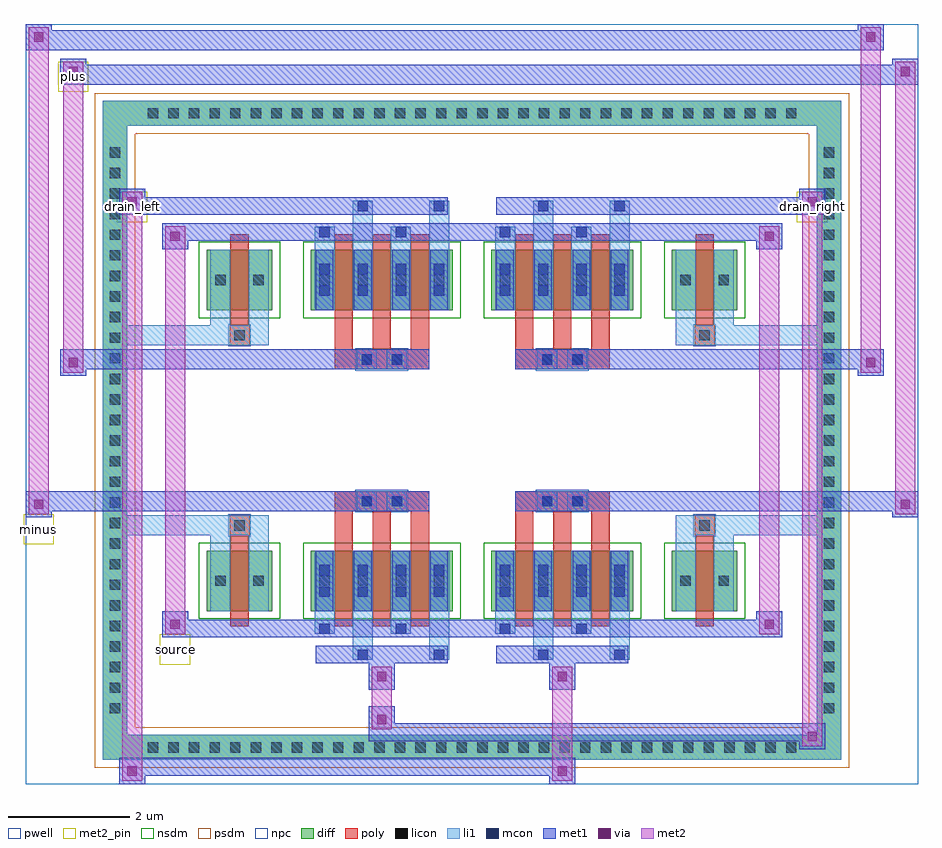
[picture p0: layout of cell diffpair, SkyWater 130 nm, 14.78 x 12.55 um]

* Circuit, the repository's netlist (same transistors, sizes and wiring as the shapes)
* NGSPICE file created from diffpair.ext - technology: sky130A

.subckt diffpair minus drain_right drain_left source plus
X0 drain_left plus source a_n1220_n1088# sky130_fd_pr__nfet_01v8 ad=0.39 pd=2.78 as=0.165 ps=1.33 w=1 l=0.3
X1 drain_right minus source a_n1220_n1088# sky130_fd_pr__nfet_01v8 ad=0.39 pd=2.78 as=0.165 ps=1.33 w=1 l=0.3
X2 a_n1220_n1088# a_n1220_n1088# a_n1220_n1088# a_n1220_n1088# sky130_fd_pr__nfet_01v8 ad=0.39 pd=2.78 as=3.12 ps=22.24 w=1 l=0.3
X3 drain_right minus source a_n1220_n1088# sky130_fd_pr__nfet_01v8 ad=0.165 pd=1.33 as=0.39 ps=2.78 w=1 l=0.3
X4 source plus drain_left a_n1220_n1088# sky130_fd_pr__nfet_01v8 ad=0.165 pd=1.33 as=0.165 ps=1.33 w=1 l=0.3
X5 a_n1220_n1088# a_n1220_n1088# a_n1220_n1088# a_n1220_n1088# sky130_fd_pr__nfet_01v8 ad=0.39 pd=2.78 as=0 ps=0 w=1 l=0.3
X6 drain_left plus source a_n1220_n1088# sky130_fd_pr__nfet_01v8 ad=0.39 pd=2.78 as=0.165 ps=1.33 w=1 l=0.3
X7 source minus drain_right a_n1220_n1088# sky130_fd_pr__nfet_01v8 ad=0.165 pd=1.33 as=0.165 ps=1.33 w=1 l=0.3
X8 a_n1220_n1088# a_n1220_n1088# a_n1220_n1088# a_n1220_n1088# sky130_fd_pr__nfet_01v8 ad=0.39 pd=2.78 as=0 ps=0 w=1 l=0.3
X9 source plus drain_left a_n1220_n1088# sky130_fd_pr__nfet_01v8 ad=0.165 pd=1.33 as=0.165 ps=1.33 w=1 l=0.3
X10 drain_left plus source a_n1220_n1088# sky130_fd_pr__nfet_01v8 ad=0.165 pd=1.33 as=0.39 ps=2.78 w=1 l=0.3
X11 drain_right minus source a_n1220_n1088# sky130_fd_pr__nfet_01v8 ad=0.165 pd=1.33 as=0.39 ps=2.78 w=1 l=0.3
X12 drain_right minus source a_n1220_n1088# sky130_fd_pr__nfet_01v8 ad=0.39 pd=2.78 as=0.165 ps=1.33 w=1 l=0.3
X13 drain_left plus source a_n1220_n1088# sky130_fd_pr__nfet_01v8 ad=0.165 pd=1.33 as=0.39 ps=2.78 w=1 l=0.3
X14 a_n1220_n1088# a_n1220_n1088# a_n1220_n1088# a_n1220_n1088# sky130_fd_pr__nfet_01v8 ad=0.39 pd=2.78 as=0 ps=0 w=1 l=0.3
X15 source minus drain_right a_n1220_n1088# sky130_fd_pr__nfet_01v8 ad=0.165 pd=1.33 as=0.165 ps=1.33 w=1 l=0.3
.ends

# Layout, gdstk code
import gdstk
lib = gdstk.Library(unit=1e-6, precision=5e-09)
def R(c, l, rs):  # rectangles x0, y0, x1, y1
    for r in rs: c.add(gdstk.rectangle(r[:2], r[2:], *l))
def A(c, l, x, y, w, h, nx, ny, dx, dy):  # array of equal rectangles
    R(c, l, [(x+i*dx, y+j*dy, x+i*dx+w, y+j*dy+h) for i in range(nx) for j in range(ny)])
def P(c, l, *ps):  # polygons
    for p in ps: c.add(gdstk.Polygon(p, *l))
pwell = (64, 44)
diff = (65, 20)
poly = (66, 20)
licon = (66, 44)
li1 = (67, 20)
mcon = (67, 44)
met1 = (68, 20)
via = (68, 44)
met2_pin = (69, 16)
met2 = (69, 20)
nsdm = (93, 44)
psdm = (94, 20)
npc = (95, 20)

diffpair = lib.new_cell('diffpair')
R(diffpair, pwell, [(-7.37,-5.84,7.37,6.71), (-4.69,-4.03,-0.01,-0.805), (0.01,-4.03,4.69,-0.805), (-4.69,0.805,-0.01,4.03), (0.01,0.805,4.69,4.03)])
A(diffpair, diff, -5.475, -5.44, 0.41, 0.41, 32, 2, 0.34, 10.47)
A(diffpair, diff, -6.1, -4.795, 0.41, 0.41, 1, 28, 0, 0.34)
A(diffpair, diff, 5.69, -4.795, 0.41, 0.41, 1, 28, 0, 0.34)
R(diffpair, diff, [(-5.475,-5.44,5.475,-5.03), (-6.1,-4.795,-5.69,4.795), (5.69,-4.795,6.1,4.795), (-4.38,-2.985,-3.3,-1.985), (-2.66,-2.985,-0.32,-1.985), (0.32,-2.985,2.66,-1.985), (3.3,-2.985,4.38,-1.985), (-4.38,1.985,-3.3,2.985), (-2.66,1.985,-0.32,2.985), (0.32,1.985,2.66,2.985), (3.3,1.985,4.38,2.985), (-5.475,5.03,5.475,5.44)])
P(diffpair, diff, [(6.1,5.44),(-6.1,5.44),(-6.1,-5.03),(-5.69,-5.03),(-5.69,5.03),(5.69,5.03),(5.69,-5.03),(-5.69,-5.03),(-6.1,-5.03),(-6.1,-5.44),(6.1,-5.44)])
A(diffpair, poly, -2.27, -3.235, 0.3, 1.5, 3, 2, 0.63, 4.97)
A(diffpair, poly, 0.71, -3.235, 0.3, 1.5, 3, 2, 0.63, 4.97)
A(diffpair, poly, -2.27, -1.735, 0.3, 0.4, 3, 2, 0.63, 3.07)
A(diffpair, poly, 0.71, -1.735, 0.3, 0.4, 3, 2, 0.63, 3.07)
R(diffpair, poly, [(-3.99,-3.235,-3.69,-1.735), (3.69,-3.235,3.99,-1.735), (-4.005,-1.735,-3.675,-1.405), (-4.005,-1.735,-3.675,-1.405), (3.675,-1.735,4.005,-1.405), (3.675,-1.735,4.005,-1.405), (-2.27,-1.335,-0.71,-1.005), (-1.905,-1.335,-1.575,-1.005), (-1.405,-1.335,-1.075,-1.005), (0.71,-1.335,2.27,-1.005), (1.075,-1.335,1.405,-1.005), (1.575,-1.335,1.905,-1.005), (-2.27,1.005,-0.71,1.335), (-1.905,1.005,-1.575,1.335), (-1.405,1.005,-1.075,1.335), (0.71,1.005,2.27,1.335), (1.075,1.005,1.405,1.335), (1.575,1.005,1.905,1.335), (-4.005,1.405,-3.675,1.735), (-4.005,1.405,-3.675,1.735), (3.675,1.405,4.005,1.735), (3.675,1.405,4.005,1.735), (-3.99,1.735,-3.69,3.235), (3.69,1.735,3.99,3.235)])
A(diffpair, licon, -5.355, -5.32, 0.17, 0.17, 32, 2, 0.34, 10.47)
A(diffpair, licon, -5.98, -4.675, 0.17, 0.17, 1, 28, 0, 0.34)
A(diffpair, licon, 5.81, -4.675, 0.17, 0.17, 1, 28, 0, 0.34)
A(diffpair, licon, -2.52, -2.57, 0.17, 0.17, 4, 2, 0.63, 4.97)
A(diffpair, licon, 0.46, -2.57, 0.17, 0.17, 4, 2, 0.63, 4.97)
R(diffpair, licon, [(-4.24,-2.57,-4.07,-2.4), (-3.61,-2.57,-3.44,-2.4), (3.44,-2.57,3.61,-2.4), (4.07,-2.57,4.24,-2.4), (-3.925,-1.655,-3.755,-1.485), (3.755,-1.655,3.925,-1.485), (-1.825,-1.255,-1.655,-1.085), (-1.325,-1.255,-1.155,-1.085), (1.155,-1.255,1.325,-1.085), (1.655,-1.255,1.825,-1.085), (-1.825,1.085,-1.655,1.255), (-1.325,1.085,-1.155,1.255), (1.155,1.085,1.325,1.255), (1.655,1.085,1.825,1.255), (-3.925,1.485,-3.755,1.655), (3.755,1.485,3.925,1.655), (-4.24,2.4,-4.07,2.57), (-3.61,2.4,-3.44,2.57), (3.44,2.4,3.61,2.57), (4.07,2.4,4.24,2.57)])
A(diffpair, li1, -5.435, -5.4, 0.33, 0.33, 32, 2, 0.34, 10.47)
A(diffpair, li1, -6.06, -4.755, 0.33, 0.33, 1, 28, 0, 0.34)
A(diffpair, li1, 5.73, -4.755, 0.33, 0.33, 1, 28, 0, 0.34)
A(diffpair, li1, -2.6, -2.985, 0.33, 1, 4, 2, 0.63, 4.97)
A(diffpair, li1, 0.38, -2.985, 0.33, 1, 4, 2, 0.63, 4.97)
A(diffpair, li1, -2.52, -2.75, 0.17, 0.17, 4, 2, 0.63, 0.36)
A(diffpair, li1, -2.52, -2.75, 0.17, 0.53, 4, 2, 0.63, 4.97)
A(diffpair, li1, 0.46, -2.75, 0.17, 0.17, 4, 2, 0.63, 0.36)
A(diffpair, li1, 0.46, -2.75, 0.17, 0.53, 4, 2, 0.63, 4.97)
A(diffpair, li1, -2.6, -2.65, 0.33, 0.33, 4, 2, 0.63, 4.97)
A(diffpair, li1, 0.38, -2.65, 0.33, 0.33, 4, 2, 0.63, 4.97)
A(diffpair, li1, -2.52, 2.22, 0.17, 0.17, 4, 2, 0.63, 0.36)
A(diffpair, li1, 0.46, 2.22, 0.17, 0.17, 4, 2, 0.63, 0.36)
R(diffpair, li1, [(-6.1,-5.44,-5.69,-5.03), (-6.1,-5.44,-5.69,-5.03), (-5.69,-5.44,5.69,-5.03), (5.69,-5.44,6.1,-5.03), (5.69,-5.44,6.1,-5.03), (-6.1,-5.03,-5.69,5.03), (5.69,-5.03,6.1,5.03), (-1.97,-3.79,-1.64,-2.985), (-1.89,-3.79,-1.72,-3.62), (-0.71,-3.79,-0.38,-2.985), (-0.63,-3.79,-0.46,-3.62), (1.01,-3.79,1.34,-2.985), (1.09,-3.79,1.26,-3.62), (2.27,-3.79,2.6,-2.985), (2.35,-3.79,2.52,-3.62), (-2.6,-3.36,-2.27,-2.985), (-2.52,-3.36,-2.35,-3.19), (-1.34,-3.36,-1.01,-2.985), (-1.26,-3.36,-1.09,-3.19), (0.38,-3.36,0.71,-2.985), (0.46,-3.36,0.63,-3.19), (1.64,-3.36,1.97,-2.985), (1.72,-3.36,1.89,-3.19), (-4.32,-2.985,-3.99,-1.985), (-3.69,-2.985,-3.36,-1.985), (3.36,-2.985,3.69,-1.985), (3.99,-2.985,4.32,-1.985), (-4.32,-2.65,-3.99,-2.32), (-3.69,-2.65,-3.36,-2.32), (3.36,-2.65,3.69,-2.32), (3.99,-2.65,4.32,-2.32), (-4.32,-1.985,-3.99,-1.405), (-3.69,-1.985,-3.36,-1.405), (3.36,-1.985,3.69,-1.405), (3.99,-1.985,4.32,-1.405), (-6.1,-1.735,-4.005,-1.405), (-4.32,-1.735,-4.005,-1.405), (-4.005,-1.735,-3.675,-1.405), (-3.675,-1.735,-3.36,-1.405), (3.36,-1.735,3.675,-1.405), (3.675,-1.735,4.005,-1.405), (3.675,-1.735,6.1,-1.405), (4.005,-1.735,4.32,-1.405), (-1.905,-1.335,-1.575,-1.005), (-1.405,-1.335,-1.075,-1.005), (1.075,-1.335,1.405,-1.005), (1.575,-1.335,1.905,-1.005), (-1.905,1.005,-1.575,1.335), (-1.405,1.005,-1.075,1.335), (1.075,1.005,1.405,1.335), (1.575,1.005,1.905,1.335), (-6.1,1.405,-4.005,1.735), (-4.32,1.405,-4.005,1.735), (-4.32,1.405,-3.99,1.985), (-4.005,1.405,-3.675,1.735), (-3.69,1.405,-3.36,1.985), (-3.675,1.405,-3.36,1.735), (3.36,1.405,3.675,1.735), (3.36,1.405,3.69,1.985), (3.675,1.405,4.005,1.735), (3.675,1.405,6.1,1.735), (3.99,1.405,4.32,1.985), (4.005,1.405,4.32,1.735), (-4.32,1.985,-3.99,2.985), (-3.69,1.985,-3.36,2.985), (3.36,1.985,3.69,2.985), (3.99,1.985,4.32,2.985), (-4.32,2.32,-3.99,2.65), (-3.69,2.32,-3.36,2.65), (3.36,2.32,3.69,2.65), (3.99,2.32,4.32,2.65), (-2.6,2.985,-2.27,3.36), (-1.97,2.985,-1.64,3.79), (-1.34,2.985,-1.01,3.36), (-0.71,2.985,-0.38,3.79), (0.38,2.985,0.71,3.36), (1.01,2.985,1.34,3.79), (1.64,2.985,1.97,3.36), (2.27,2.985,2.6,3.79), (-2.52,3.19,-2.35,3.36), (-1.26,3.19,-1.09,3.36), (0.46,3.19,0.63,3.36), (1.72,3.19,1.89,3.36), (-1.89,3.62,-1.72,3.79), (-0.63,3.62,-0.46,3.79), (1.09,3.62,1.26,3.79), (2.35,3.62,2.52,3.79), (-6.1,5.03,-5.69,5.44), (-6.1,5.03,-5.69,5.44), (-5.69,5.03,5.69,5.44), (5.69,5.03,6.1,5.44), (5.69,5.03,6.1,5.44)])
A(diffpair, mcon, -2.52, -2.75, 0.17, 0.17, 4, 2, 0.63, 0.36)
A(diffpair, mcon, 0.46, -2.75, 0.17, 0.17, 4, 2, 0.63, 0.36)
A(diffpair, mcon, -2.52, 2.22, 0.17, 0.17, 4, 2, 0.63, 0.36)
A(diffpair, mcon, 0.46, 2.22, 0.17, 0.17, 4, 2, 0.63, 0.36)
R(diffpair, mcon, [(-1.89,-3.79,-1.72,-3.62), (-0.63,-3.79,-0.46,-3.62), (1.09,-3.79,1.26,-3.62), (2.35,-3.79,2.52,-3.62), (-2.52,-3.36,-2.35,-3.19), (-1.26,-3.36,-1.09,-3.19), (0.46,-3.36,0.63,-3.19), (1.72,-3.36,1.89,-3.19), (-1.825,-1.255,-1.655,-1.085), (-1.325,-1.255,-1.155,-1.085), (1.155,-1.255,1.325,-1.085), (1.655,-1.255,1.825,-1.085), (-1.825,1.085,-1.655,1.255), (-1.325,1.085,-1.155,1.255), (1.155,1.085,1.325,1.255), (1.655,1.085,1.825,1.255), (-2.52,3.19,-2.35,3.36), (-1.26,3.19,-1.09,3.36), (0.46,3.19,0.63,3.36), (1.72,3.19,1.89,3.36), (-1.89,3.62,-1.72,3.79), (-0.63,3.62,-0.46,3.79), (1.09,3.62,1.26,3.79), (2.35,3.62,2.52,3.79)])
A(diffpair, met1, -2.58, -2.985, 0.29, 1, 4, 2, 0.63, 4.97)
A(diffpair, met1, 0.4, -2.985, 0.29, 1, 4, 2, 0.63, 4.97)
A(diffpair, met1, -2.58, -2.81, 0.29, 0.29, 4, 2, 0.63, 0.36)
A(diffpair, met1, 0.4, -2.81, 0.29, 0.29, 4, 2, 0.63, 0.36)
A(diffpair, met1, -2.58, 2.16, 0.29, 0.29, 4, 2, 0.63, 0.36)
A(diffpair, met1, 0.4, 2.16, 0.29, 0.29, 4, 2, 0.63, 0.36)
R(diffpair, met1, [(-5.83,-5.84,-5.4,-5.41), (1.275,-5.84,1.705,-5.41), (-5.83,-5.7,1.705,-5.41), (5.4,-5.27,5.83,-4.84), (-1.705,-5.13,5.83,-4.84), (-1.705,-4.99,-1.275,-4.56), (-1.705,-4.28,-1.275,-3.85), (1.275,-4.28,1.705,-3.85), (-2.58,-3.85,-0.4,-3.56), (-1.95,-3.85,-1.66,-3.56), (-0.69,-3.85,-0.4,-3.56), (0.4,-3.85,2.58,-3.56), (1.03,-3.85,1.32,-3.56), (2.29,-3.85,2.58,-3.56), (-5.12,-3.42,-4.69,-2.99), (-5.12,-3.42,-2.58,-3.13), (-2.58,-3.42,-2.29,-3.13), (-2.58,-3.42,-0.4,-3.13), (-1.32,-3.42,-1.03,-3.13), (-0.4,-3.42,0.4,-3.13), (0.4,-3.42,0.69,-3.13), (0.4,-3.42,2.58,-3.13), (1.66,-3.42,1.95,-3.13), (2.58,-3.42,5.12,-3.13), (4.69,-3.42,5.12,-2.99), (-7.37,-1.435,-6.94,-1.005), (6.94,-1.435,7.37,-1.005), (-7.37,-1.335,-0.71,-1.005), (-2.27,-1.335,-0.71,-1.005), (0.71,-1.335,2.27,-1.005), (0.71,-1.335,7.37,-1.005), (-1.885,-1.315,-1.595,-1.025), (-1.385,-1.315,-1.095,-1.025), (1.095,-1.315,1.385,-1.025), (1.595,-1.315,1.885,-1.025), (-6.8,0.905,-6.37,1.335), (6.37,0.905,6.8,1.335), (-6.8,1.005,-2.27,1.335), (-2.27,1.005,-0.71,1.335), (0.71,1.005,2.27,1.335), (2.27,1.005,6.8,1.335), (-1.885,1.025,-1.595,1.315), (-1.385,1.025,-1.095,1.315), (1.095,1.025,1.385,1.315), (1.595,1.025,1.885,1.315), (-5.12,2.99,-4.69,3.42), (4.69,2.99,5.12,3.42), (-5.12,3.13,-2.58,3.42), (-2.58,3.13,-2.29,3.42), (-2.58,3.13,-0.4,3.42), (-1.32,3.13,-1.03,3.42), (-0.4,3.13,0.4,3.42), (0.4,3.13,0.69,3.42), (0.4,3.13,2.58,3.42), (1.66,3.13,1.95,3.42), (2.58,3.13,5.12,3.42), (-5.83,3.56,-5.4,3.99), (-5.83,3.56,-2.58,3.85), (-2.58,3.56,-0.4,3.85), (-1.95,3.56,-1.66,3.85), (-0.69,3.56,-0.4,3.85), (0.4,3.56,2.58,3.85), (1.03,3.56,1.32,3.85), (2.29,3.56,2.58,3.85), (2.58,3.56,5.83,3.85), (5.4,3.56,5.83,3.99), (-6.8,5.71,-6.37,6.14), (-6.8,5.71,-4.69,6.04), (-4.69,5.71,4.69,6.04), (4.69,5.71,7.37,6.04), (6.94,5.71,7.37,6.14), (-7.37,6.28,-6.94,6.71), (-7.37,6.28,-4.69,6.61), (-4.69,6.28,4.69,6.61), (4.69,6.28,6.8,6.61), (6.37,6.28,6.8,6.71)])
R(diffpair, via, [(-5.69,-5.7,-5.54,-5.55), (1.415,-5.7,1.565,-5.55), (5.54,-5.13,5.69,-4.98), (-1.565,-4.85,-1.415,-4.7), (-1.565,-4.14,-1.415,-3.99), (1.415,-4.14,1.565,-3.99), (-4.98,-3.28,-4.83,-3.13), (4.83,-3.28,4.98,-3.13), (-7.23,-1.295,-7.08,-1.145), (7.08,-1.295,7.23,-1.145), (-6.66,1.045,-6.51,1.195), (6.51,1.045,6.66,1.195), (-4.98,3.13,-4.83,3.28), (4.83,3.13,4.98,3.28), (-5.69,3.7,-5.54,3.85), (5.54,3.7,5.69,3.85), (-6.66,5.85,-6.51,6), (7.08,5.85,7.23,6), (-7.23,6.42,-7.08,6.57), (6.51,6.42,6.66,6.57)])
R(diffpair, met2_pin, [(-5.155,-3.87,-4.655,-3.37), (-7.405,-1.885,-6.905,-1.385), (-5.865,3.44,-5.365,3.94), (5.365,3.44,5.865,3.94), (-6.835,5.59,-6.335,6.09)])
R(diffpair, met2, [(-5.78,-5.79,-5.45,-5.46), (-5.78,-5.79,-5.45,3.94), (1.325,-5.79,1.655,-5.46), (1.325,-5.46,1.655,-4.23), (5.45,-5.22,5.78,-4.89), (5.45,-5.22,5.78,3.94), (-1.655,-4.94,-1.325,-4.61), (-1.655,-4.61,-1.325,-4.23), (-1.655,-4.23,-1.325,-3.9), (1.325,-4.23,1.655,-3.9), (-5.07,-3.37,-4.74,-3.04), (-5.07,-3.37,-4.74,3.37), (4.74,-3.37,5.07,-3.04), (4.74,-3.37,5.07,3.37), (-7.32,-1.385,-6.99,-1.055), (-7.32,-1.385,-6.99,6.66), (6.99,-1.385,7.32,-1.055), (6.99,-1.385,7.32,6.09), (-6.75,0.955,-6.42,1.285), (-6.75,0.955,-6.42,6.09), (6.42,0.955,6.75,1.285), (6.42,0.955,6.75,6.66), (-5.07,3.04,-4.74,3.37), (4.74,3.04,5.07,3.37), (-5.78,3.61,-5.45,3.94), (5.45,3.61,5.78,3.94), (-6.75,5.76,-6.42,6.09), (6.99,5.76,7.32,6.09), (-7.32,6.33,-6.99,6.66), (6.42,6.33,6.75,6.66)])
P(diffpair, met2, [(7.32,-1.385),(7.32,-1.385),(7.32,-1.055),(7.32,-1.055)],
  [(7.32,5.76),(7.32,5.76),(7.32,6.09),(7.32,6.09)],
  [(-6.99,-1.385),(-6.99,-1.385),(-6.99,-1.055),(-6.99,-1.055)],
  [(-6.99,6.33),(-6.99,6.33),(-6.99,6.66),(-6.99,6.66)],
  [(6.75,0.955),(6.75,0.955),(6.75,1.285),(6.75,1.285)],
  [(6.75,6.33),(6.75,6.33),(6.75,6.66),(6.75,6.66)],
  [(-6.42,0.955),(-6.42,0.955),(-6.42,1.285),(-6.42,1.285)],
  [(-6.42,5.76),(-6.42,5.76),(-6.42,6.09),(-6.42,6.09)],
  [(-5.45,-5.79),(-5.45,-5.79),(-5.45,-5.46),(-5.45,-5.46)],
  [(-5.45,3.61),(-5.45,3.61),(-5.45,3.94),(-5.45,3.94)],
  [(5.78,-5.22),(5.78,-5.22),(5.78,-4.89),(5.78,-4.89)],
  [(5.78,3.61),(5.78,3.61),(5.78,3.94),(5.78,3.94)],
  [(-4.74,-3.37),(-4.74,-3.37),(-4.74,-3.04),(-4.74,-3.04)],
  [(-4.74,3.04),(-4.74,3.04),(-4.74,3.37),(-4.74,3.37)],
  [(5.07,-3.37),(5.07,-3.37),(5.07,-3.04),(5.07,-3.04)],
  [(5.07,3.04),(5.07,3.04),(5.07,3.37),(5.07,3.37)])
R(diffpair, nsdm, [(-4.51,-3.115,-3.17,-1.855), (-2.79,-3.115,-0.19,-1.855), (0.19,-3.115,2.79,-1.855), (3.17,-3.115,4.51,-1.855), (-4.51,1.855,-3.17,3.115), (-2.79,1.855,-0.19,3.115), (0.19,1.855,2.79,3.115), (3.17,1.855,4.51,3.115)])
P(diffpair, psdm, [(6.23,5.57),(-6.23,5.57),(-6.23,-4.9),(-5.56,-4.9),(-5.56,4.9),(5.56,4.9),(5.56,-4.9),(-5.56,-4.9),(-6.23,-4.9),(-6.23,-5.57),(6.23,-5.57)])
R(diffpair, npc, [(-4.025,-1.755,-3.655,-1.385), (3.655,-1.755,4.025,-1.385), (-1.925,-1.355,-1.555,-0.985), (-1.925,-1.355,-1.055,-0.985), (-1.925,-1.355,-1.055,-0.985), (-1.425,-1.355,-1.055,-0.985), (1.055,-1.355,1.425,-0.985), (1.055,-1.355,1.925,-0.985), (1.055,-1.355,1.925,-0.985), (1.555,-1.355,1.925,-0.985), (-1.925,0.985,-1.555,1.355), (-1.925,0.985,-1.055,1.355), (-1.925,0.985,-1.055,1.355), (-1.425,0.985,-1.055,1.355), (1.055,0.985,1.425,1.355), (1.055,0.985,1.925,1.355), (1.055,0.985,1.925,1.355), (1.555,0.985,1.925,1.355), (-4.025,1.385,-3.655,1.755), (3.655,1.385,4.025,1.755)])
diffpair.add(gdstk.Label('minus', (-7.155,-1.635), layer=69, texttype=5))
diffpair.add(gdstk.Label('drain_right', (5.615,3.69), layer=69, texttype=5))
diffpair.add(gdstk.Label('drain_left', (-5.615,3.69), layer=69, texttype=5))
diffpair.add(gdstk.Label('source', (-4.905,-3.62), layer=69, texttype=5))
diffpair.add(gdstk.Label('plus', (-6.585,5.84), layer=69, texttype=5))

lib.write_gds('diffpair.gds')
